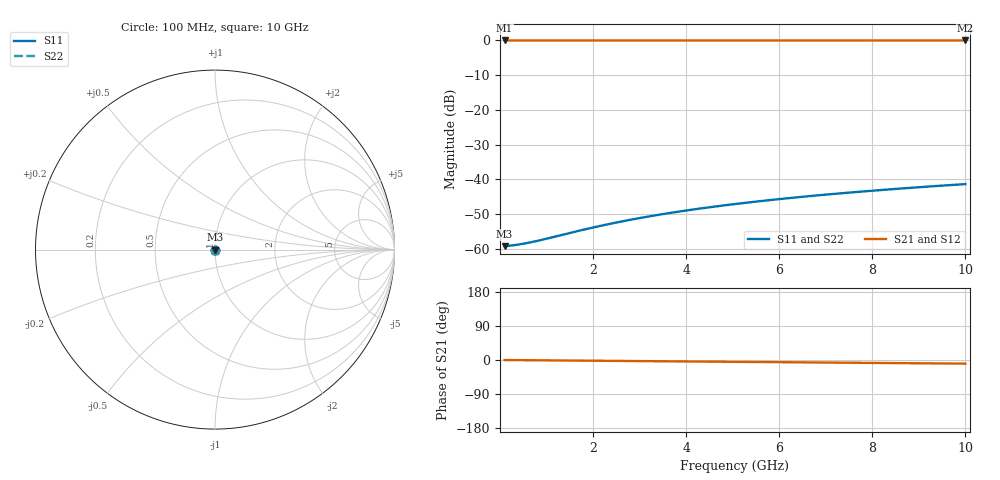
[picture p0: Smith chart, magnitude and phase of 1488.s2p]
# Hz S RI R 50.00
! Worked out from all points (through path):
!   100 points, 100 MHz to 10 GHz, reference 50 ohm
!   highest |S21| = -0.01 dB at 100 MHz (marker M1); lowest = 0.0 dB at 10 GHz (marker M2)
!   group delay of S21, straight-line fit = 2.66 ps
!   lowest |S11| = -59.3 dB at 100 MHz (marker M3), VSWR 1.00, Z = 50.1 - j0.00858 ohm
!   |S11| at or under -10 dB: start of sweep to end of sweep
!   |S22| runs from -59.3 to -41.4 dB; largest |S21 - S12| = 0
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1e8  0.00108 -8.56e-05  0.9989 -0.00167  0.9989 -0.00167  0.00108 -8.56e-05
3e8  0.00109 -0.000257  0.9989 -0.005  0.9989 -0.005  0.00109 -0.000257
4e8  0.0011 -0.000342  0.9989 -0.00667  0.9989 -0.00667  0.0011 -0.000342
5e8  0.0011 -0.000428  0.9989 -0.00834  0.9989 -0.00834  0.0011 -0.000428
7e8  0.0011 -0.000599  0.9988 -0.0117  0.9988 -0.0117  0.0011 -0.000599
1e9  0.0011 -0.000856  0.9987 -0.0167  0.9987 -0.0167  0.0011 -0.000856
1.8e9  0.00108 -0.00154  0.9984 -0.03  0.9984 -0.03  0.00108 -0.00154
2.2e9  0.00106 -0.00189  0.9982 -0.0367  0.9982 -0.0367  0.00106 -0.00189
2.6e9  0.00103 -0.00223  0.9979 -0.0434  0.9979 -0.0434  0.00103 -0.00223
3e9  0.001 -0.00257  0.9976 -0.05  0.9976 -0.05  0.001 -0.00257
3.4e9  0.000968 -0.00291  0.9972 -0.0567  0.9972 -0.0567  0.000968 -0.00291
3.8e9  0.000929 -0.00326  0.9968 -0.0634  0.9968 -0.0634  0.000929 -0.00326
4.2e9  0.000886 -0.0036  0.9963 -0.07  0.9963 -0.07  0.000886 -0.0036
4.6e9  0.000837 -0.00394  0.9958 -0.0767  0.9958 -0.0767  0.000837 -0.00394
5.1e9  0.000771 -0.00437  0.9951 -0.085  0.9951 -0.085  0.000771 -0.00437
5.5e9  0.000712 -0.00471  0.9945 -0.0917  0.9945 -0.0917  0.000712 -0.00471
5.9e9  0.000649 -0.00505  0.9939 -0.0983  0.9939 -0.0983  0.000649 -0.00505
6.7e9  0.000508 -0.00573  0.9925 -0.1116  0.9925 -0.1116  0.000508 -0.00573
7.5e9  0.00035 -0.00641  0.9909 -0.1249  0.9909 -0.1249  0.00035 -0.00641
8.4e9  0.00015 -0.00717  0.9888 -0.1399  0.9888 -0.1399  0.00015 -0.00717
9.2e9  -4.74e-05 -0.00785  0.9868 -0.1531  0.9868 -0.1531  -4.74e-05 -0.00785
1e10  -0.000263 -0.00851  0.9847 -0.1663  0.9847 -0.1663  -0.000263 -0.00851
